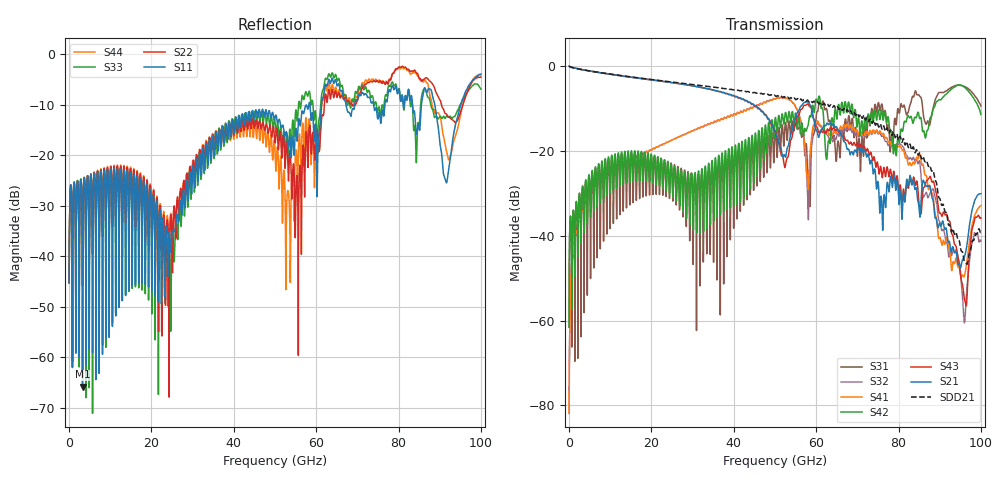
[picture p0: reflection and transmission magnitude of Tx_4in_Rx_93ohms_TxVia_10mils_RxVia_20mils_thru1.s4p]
! Info: Touchstone file created by Circ.  Input file=Tx_4in_Rx_93ohms_TxVia_10mils_RxVia_20mils.circ
# Hz S RI R 50
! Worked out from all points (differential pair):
!   10000 points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, 10 MHz to 100 GHz, reference 50 ohm
!   strongest paths, dB at 10 MHz, 25.01 GHz, 50.01 GHz, 75.01 GHz, 100 GHz:
!     S21: 0.0, -3.9, -15.3, -27.3, -30.1
!     S43: 0.0, -3.9, -15.6, -23.4, -35.8
!     S42: -61.6, -25.6, -12.5, -10.4, -11.4
!     S41: -81.9, -17.4, -7.8, -15.7, -32.9
!     S32: -81.9, -17.4, -7.8, -16.0, -41.3
!     S31: -61.6, -26.0, -15.9, -8.9, -9.5
!   taken as a pair (ports 1,3 in; 2,4 out), SDD21 dB: 0.0, -3.8, -7.0, -13.9, -39.2
!   lowest |S11| = -65.8 dB at 3.27 GHz (marker M1), VSWR 1.00, Z = 50 + j0.0187 ohm
!   |S11| at or under -10 dB: start of sweep to 58.22 GHz; 58.49 GHz to 61.3 GHz (2.811 GHz wide, 4.69 % of centre); 88.81 GHz to 95.15 GHz (6.334 GHz wide, 6.89 % of centre) (the widest 3 of 7)
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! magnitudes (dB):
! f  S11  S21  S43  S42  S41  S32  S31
! 10 MHz  -45.1  0.0  0.0  -61.6  -81.9  -81.9  -61.6
! 3.27 GHz  -65.8  -0.9  -0.9  -28.3  -34.2  -34.2  -28.5
! 24.33 GHz  -35.1  -3.8  -3.8  -29.0  -17.7  -17.7  -30.3
! 51.86 GHz  -14.1  -21.4  -21.3  -11.6  -7.5  -7.5  -14.3
! 87.92 GHz  -7.1  -29.8  -26.7  -12.0  -29.7  -29.7  -12.2
! 96.2 GHz  -7.6  -44.3  -55.6  -5.1  -48.7  -58.8  -4.9
! 100 GHz  -4.1  -30.1  -35.8  -11.4  -32.9  -41.3  -9.5
